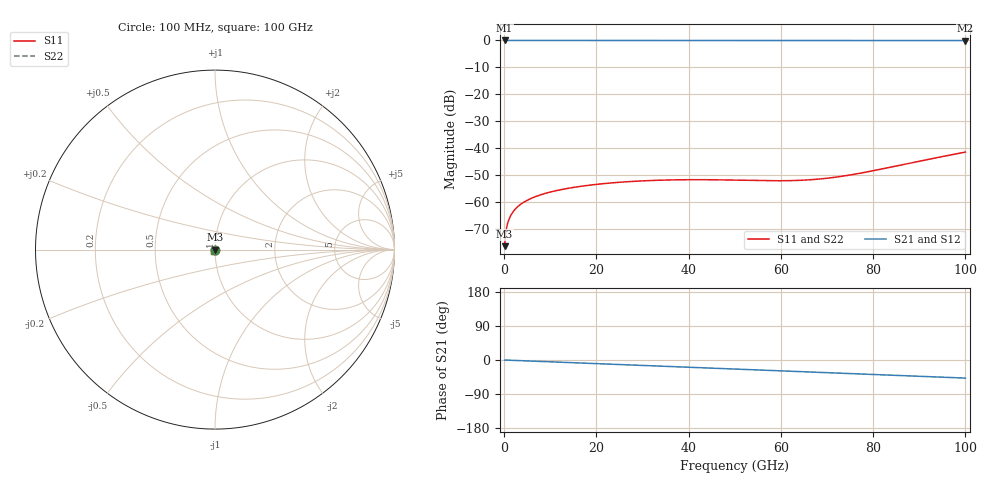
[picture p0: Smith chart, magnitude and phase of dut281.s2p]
! Touchstone file exported from HFSS 2026.1.0
!  File:  C:/ffzhzh/LocalFiles/Ansys_Project_Files/temp_train_TSV_281_1783508815_9504.aedt
!  Generated:  07:08:11 PM Jul  8, 2026
!  Design:  TSV
!  Project:  temp_train_TSV_281_1783508815_9504
! Variables:
!  h_bsmrdl = 2um
!  h_ox = 20um
!  h_rdl = 5um
!  h_sub = 98.85um
!  h_tmrdl = 5um
!  h_tsv = 98.85um
!  h_via = 3um
!  l_bsmrdl = 300um
!  l_sub = 420.72um
!  l_tmrdl = 200um
!  m_sub = 200um
!  pitch = 42.61um
!  r_tsv = 10.36um
!  s_tmrdl = 10um
!  w_bsmrdl = 18um
!  w_sub = 500um
!  w_tmrdl = 12um
!  x_tsv_center1 = 206um
!  x_tsv_center2 = 524um
!  x_tsv_center3 = 736um
!  x_tsv_center4 = 1054um
!  x_tsv_center5 = 1266um
!  x_tsv_center6 = 1584um
# GHz S MA R 50.000000
! Terminal data exported
! Port[1] = TSV1_1_T1
! Port[2] = TSV1_1_T2
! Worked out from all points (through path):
!   1000 points, 100 MHz to 100 GHz, reference 50 ohm
!   highest |S21| = 0.00 dB at 100 MHz (marker M1); lowest = 0.0 dB at 100 GHz (marker M2)
!   group delay of S21, straight-line fit = 1.32 ps
!   lowest |S11| = -76.2 dB at 100 MHz (marker M3), VSWR 1.00, Z = 50 + j0.00592 ohm
!   |S11| at or under -10 dB: start of sweep to end of sweep
!   |S22| runs from -76.2 to -41.3 dB; largest |S21 - S12| = 6.6e-15
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0.1  0.0001546 22.5  0.9999 -0.1  0.9999 -0.1  0.0001546 22.5
! Gamma 0 0 0 0
! Port Impedance 50 0 50 0
0.4  0.0002866 43.4  0.9998 -0.2  0.9998 -0.2  0.0002866 43.4
0.8  0.0004223 44.9  0.9997 -0.4  0.9997 -0.4  0.0004223 44.9
1  0.000474 45.0  0.9997 -0.5  0.9997 -0.5  0.000474 45.0
1.3  0.0005427 45.3  0.9996 -0.6  0.9996 -0.6  0.0005427 45.3
1.8  0.0006442 45.5  0.9996 -0.9  0.9996 -0.9  0.0006443 45.5
2.3  0.0007339 45.4  0.9995 -1.1  0.9995 -1.1  0.0007339 45.4
2.9  0.0008288 45.1  0.9994 -1.4  0.9994 -1.4  0.0008289 45.1
3.7  0.0009392 44.6  0.9994 -1.8  0.9994 -1.8  0.0009393 44.6
5.9  0.00119 43.8  0.9992 -2.8  0.9992 -2.8  0.00119 43.8
8.7  0.001452 42.4  0.999 -4.2  0.999 -4.2  0.001452 42.4
12.3  0.001722 40.3  0.9988 -5.9  0.9988 -5.9  0.001723 40.3
16.8  0.001996 37.8  0.9986 -8.0  0.9986 -8.0  0.001998 37.7
24.5  0.002343 32.6  0.9983 -11.7  0.9983 -11.7  0.002346 32.5
33.4  0.002572 25.0  0.998 -15.9  0.998 -15.9  0.002578 24.8
41.1  0.002636 16.2  0.9978 -19.6  0.9978 -19.6  0.002645 16.0
50.1  0.002587 1.9  0.9975 -23.9  0.9975 -23.9  0.002602 1.7
60.2  0.002519 -22.2  0.9973 -28.7  0.9973 -28.7  0.002544 -22.3
66.7  0.002639 -42.5  0.9971 -31.8  0.9971 -31.8  0.002669 -42.4
74  0.003119 -66.4  0.997 -35.3  0.997 -35.3  0.003152 -66.0
83.4  0.004423 -91.6  0.9967 -39.8  0.9967 -39.8  0.004453 -91.1
100  0.008545 -119.1  0.9962 -47.7  0.9962 -47.7  0.008568 -118.7
